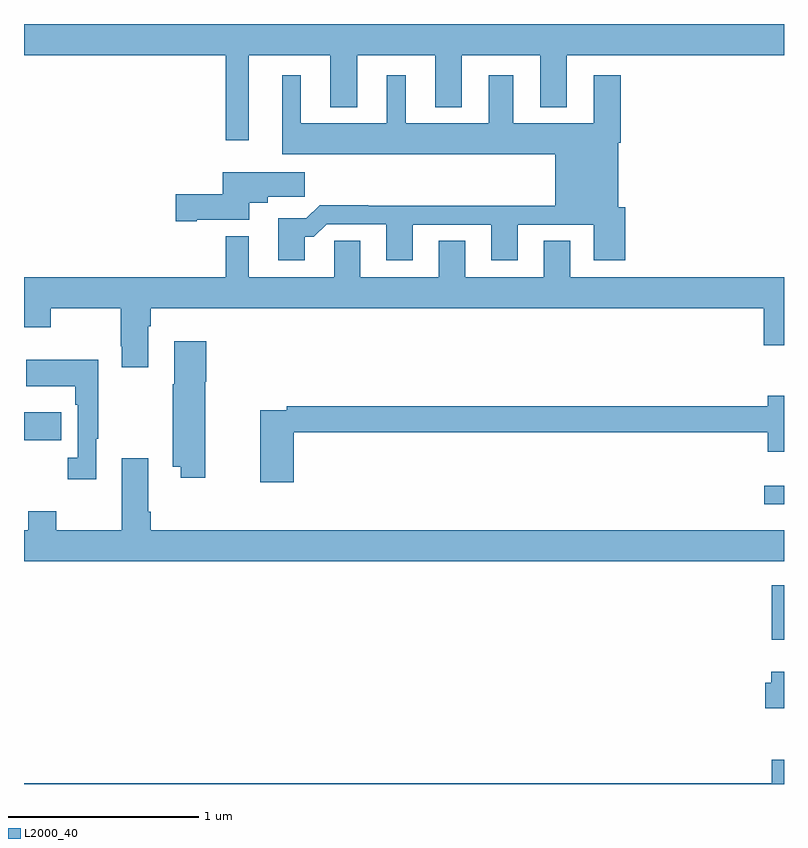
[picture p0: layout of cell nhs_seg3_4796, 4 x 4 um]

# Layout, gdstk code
import gdstk
lib = gdstk.Library(unit=1e-6, precision=1e-09)
def R(c, l, rs):  # rectangles x0, y0, x1, y1
    for r in rs: c.add(gdstk.rectangle(r[:2], r[2:], *l))
def P(c, l, *ps):  # polygons
    for p in ps: c.add(gdstk.Polygon(p, *l))
L2000_40 = (2000, 40)

nhs_seg3_4796 = lib.new_cell('nhs_seg3_4796')
R(nhs_seg3_4796, L2000_40, [(372.935,711.158,373,711.445), (372.897,711.872,373,711.969), (369,712.21,369.197,712.357)])
P(nhs_seg3_4796, L2000_40, [(370.183,714.236),(370.613,714.236),(370.613,713.963),(370.753,713.963),(370.753,714.236),(371.165,714.236),(371.165,713.963),(371.305,713.963),(371.305,714.236),(371.717,714.236),(371.717,713.963),(371.857,713.963),(371.857,714.236),(373,714.236),(373,714.4),(369,714.4),(369,714.236),(370.062,714.236),(370.062,713.787),(370.183,713.787)],
  [(370.477,713.279),(370.526,713.279),(370.593,713.346),(370.907,713.346),(370.907,713.157),(371.047,713.157),(371.047,713.343),(371.459,713.343),(371.459,713.157),(371.599,713.157),(371.599,713.343),(371.999,713.343),(371.999,713.157),(372.164,713.157),(372.164,713.436),(372.127,713.436),(372.127,713.774),(372.14,713.774),(372.14,714.13),(371.999,714.13),(371.999,713.878),(371.575,713.878),(371.575,714.13),(371.447,714.13),(371.447,713.878),(371.008,713.878),(371.008,714.13),(370.91,714.13),(370.91,713.878),(370.456,713.878),(370.456,714.13),(370.358,714.13),(370.358,713.714),(371.795,713.714),(371.795,713.444),(370.811,713.444),(370.811,713.447),(370.556,713.447),(370.486,713.377),(370.337,713.377),(370.337,713.157),(370.477,713.157)],
  [(369.91,713.369),(370.186,713.369),(370.186,713.459),(370.282,713.459),(370.282,713.491),(370.477,713.491),(370.477,713.62),(370.046,713.62),(370.046,713.504),(369.798,713.504),(369.798,713.362),(369.91,713.362)],
  [(369.655,712.808),(369.668,712.808),(369.668,712.904),(372.893,712.904),(372.893,712.71),(373,712.71),(373,713.068),(371.875,713.068),(371.875,713.258),(371.735,713.258),(371.735,713.068),(371.323,713.068),(371.323,713.258),(371.183,713.258),(371.183,713.068),(370.771,713.068),(370.771,713.258),(370.632,713.258),(370.632,713.068),(370.183,713.068),(370.183,713.284),(370.062,713.284),(370.062,713.068),(369,713.068),(369,712.805),(369.141,712.805),(369.141,712.904),(369.508,712.904),(369.508,712.705),(369.515,712.705),(369.515,712.593),(369.655,712.593)],
  [(369.954,712.516),(369.959,712.516),(369.959,712.729),(369.791,712.729),(369.791,712.505),(369.784,712.505),(369.784,712.07),(369.824,712.07),(369.824,712.011),(369.954,712.011)],
  [(369.379,712.217),(369.391,712.217),(369.391,712.633),(369.013,712.633),(369.013,712.493),(369.27,712.493),(369.27,712.397),(369.282,712.397),(369.282,712.118),(369.231,712.118),(369.231,712.005),(369.379,712.005)],
  [(370.421,712.252),(372.914,712.252),(372.914,712.148),(373,712.148),(373,712.444),(372.914,712.444),(372.914,712.388),(370.384,712.388),(370.384,712.368),(370.243,712.368),(370.243,711.987),(370.421,711.987)],
  [(373,711.736),(369.668,711.736),(369.668,711.832),(369.655,711.832),(369.655,712.114),(369.515,712.114),(369.515,711.736),(369.171,711.736),(369.171,711.835),(369.023,711.835),(369.023,711.736),(369,711.736),(369,711.572),(373,711.572)],
  [(373,710.992),(372.932,710.992),(372.932,710.934),(372.902,710.934),(372.902,710.798),(373,710.798)],
  [(373,710.528),(372.935,710.528),(372.935,710.404),(369,710.404),(369,710.4),(373,710.4)])

lib.write_gds('nhs_seg3_4796.gds')
